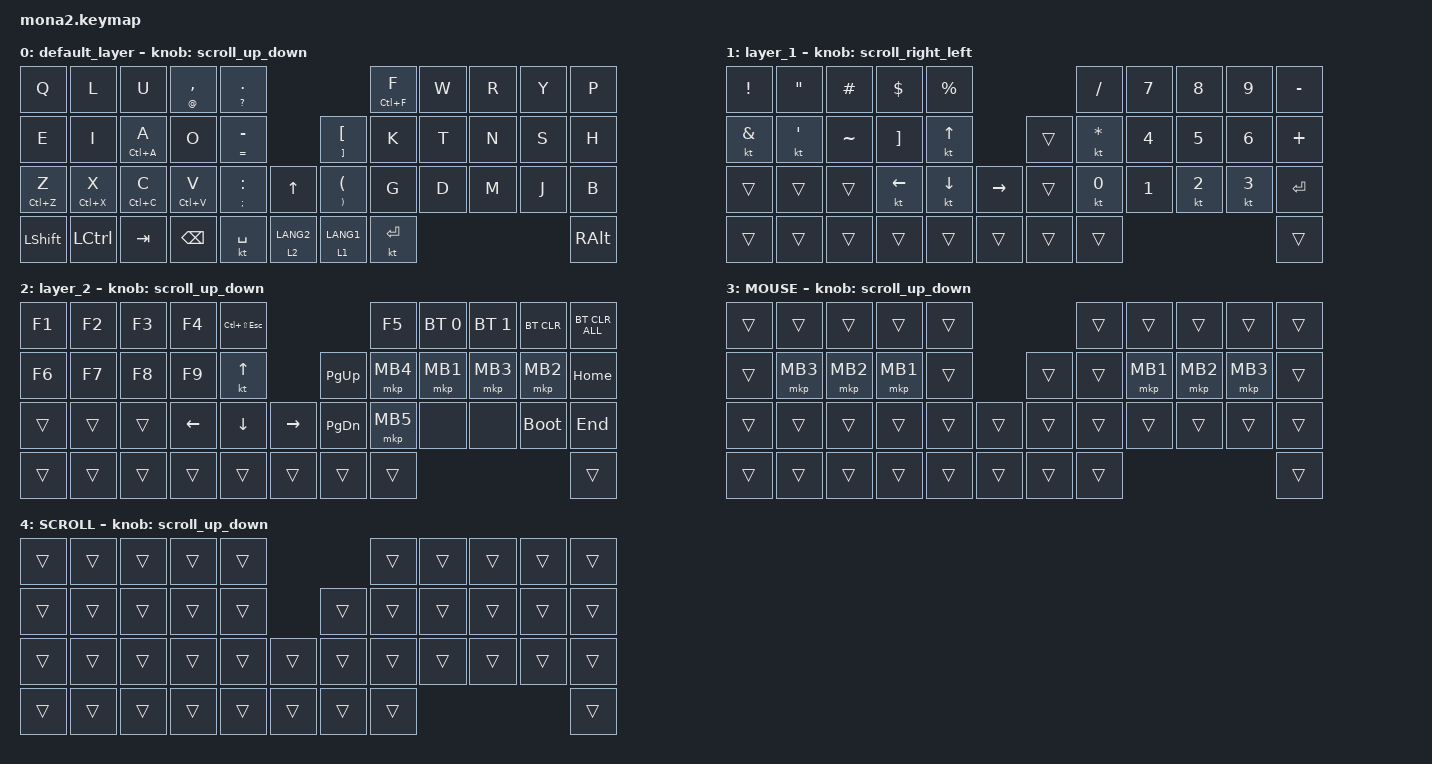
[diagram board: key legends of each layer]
#include <input/processors.dtsi>
#include <dt-bindings/zmk/input_transform.h>
#include <zephyr/dt-bindings/input/input-event-codes.h>
#include <behaviors.dtsi>
#include <dt-bindings/zmk/bt.h>
#include <dt-bindings/zmk/keys.h>
#include <dt-bindings/zmk/pointing.h>

#define ZMK_POINTING_DEFAULT_SCRL_VAL 100
#define MOUSE 5
#define SCROLL 6

&mt {
    flavor = "balanced";
    quick-tap-ms = <0>;
};

&lt {
    quick-tap-ms = <300>;
    flavor = "balanced";
};

/ {
    combos { compatible = "zmk,combos"; };

    macros {
        to_layer_0: to_layer_0 {
            compatible = "zmk,behavior-macro-one-param";
            #binding-cells = <1>;
            bindings = <&to 0 &macro_param_1to1 &kp MACRO_PLACEHOLDER>;
            label = "TO_LAYER_0";
        };
    };

    behaviors {
        lt_to_layer_0: lt_to_layer_0 {
            compatible = "zmk,behavior-hold-tap";
            label = "LAYER_TAP_TO_0";
            bindings = <&mo>, <&to_layer_0>;

            #binding-cells = <2>;
            tapping-term-ms = <200>;
        };

        scroll_up_down: mouse_wheel_up_down {
            compatible = "zmk,behavior-sensor-rotate";
            #sensor-binding-cells = <0>;
            bindings = <&msc SCRL_DOWN>, <&msc SCRL_UP>;

            tap-ms = <20>;
        };

        scroll_right_left: mouse_wheel_right_left {
            compatible = "zmk,behavior-sensor-rotate";
            #sensor-binding-cells = <0>;
            bindings = <&msc SCRL_LEFT>, <&msc SCRL_RIGHT>;

            tap-ms = <20>;
        };
    };

    keymap {
        compatible = "zmk,keymap";

        default_layer {
            bindings = <
&kp Q           &kp L             &kp U        &mt AT COMMA   &mt QUESTION PERIOD                                                                    &mt LC(F) F  &kp W  &kp R  &kp Y  &kp P
&kp E           &kp I             &mt LC(A) A  &kp O          &mt EQUAL MINUS                                &mt RIGHT_BRACKET LEFT_BRACKET          &kp K        &kp T  &kp N  &kp S  &kp H
&mt LC(Z) Z     &mt LC(X) X       &mt LC(C) C  &mt LC(V) V    &mt SEMICOLON COLON  &kp UP_ARROW              &mt RIGHT_PARENTHESIS LEFT_PARENTHESIS  &kp G        &kp D  &kp M  &kp J  &kp B
&kp LEFT_SHIFT  &kp LEFT_CONTROL  &kp TAB      &kp BACKSPACE  &kt SPACE            &lt_to_layer_0 2 LANG2    &lt_to_layer_0 1 LANG1                  &kt ENTER                         &kp RIGHT_ALT
            >;

            sensor-bindings = <&scroll_up_down>;
        };

        layer_1 {
            bindings = <
&kp EXCLAMATION  &kp DOUBLE_QUOTES  &kp HASH   &kp DOLLAR         &kp PERCENT                                &kp SLASH     &kp NUMBER_7  &kp NUMBER_8  &kp NUMBER_9  &kp MINUS
&kt AMPERSAND    &kt SINGLE_QUOTE   &kp TILDE  &kp RIGHT_BRACKET  &kt UP_ARROW                       &trans  &kt ASTERISK  &kp NUMBER_4  &kp NUMBER_5  &kp NUMBER_6  &kp PLUS
&trans           &trans             &trans     &kt LEFT_ARROW     &kt DOWN_ARROW  &kp RIGHT_ARROW    &trans  &kt NUMBER_0  &kp NUMBER_1  &kt NUMBER_2  &kt NUMBER_3  &kp ENTER
&trans           &trans             &trans     &trans             &trans          &trans             &trans  &trans                                                  &trans
            >;

            sensor-bindings = <&scroll_right_left>;
        };

        layer_2 {
            bindings = <
&kp F1  &kp F2  &kp F3  &kp F4          &kp LC(LS(ESCAPE))                                    &kp F5    &bt BT_SEL 0  &bt BT_SEL 1  &bt BT_CLR   &bt BT_CLR_ALL
&kp F6  &kp F7  &kp F8  &kp F9          &kt UP_ARROW                           &kp PAGE_UP    &mkp MB4  &mkp MB1      &mkp MB3      &mkp MB2     &kp HOME
&trans  &trans  &trans  &kp LEFT_ARROW  &kp DOWN_ARROW      &kp RIGHT_ARROW    &kp PAGE_DOWN  &mkp MB5  &none         &none         &bootloader  &kp END
&trans  &trans  &trans  &trans          &trans              &trans             &trans         &trans                                             &trans
            >;

            sensor-bindings = <&scroll_up_down>;
        };

        MOUSE {
            bindings = <
&trans  &trans    &trans    &trans    &trans                    &trans  &trans    &trans    &trans    &trans
&trans  &mkp MB3  &mkp MB2  &mkp MB1  &trans            &trans  &trans  &mkp MB1  &mkp MB2  &mkp MB3  &trans
&trans  &trans    &trans    &trans    &trans  &trans    &trans  &trans  &trans    &trans    &trans    &trans
&trans  &trans    &trans    &trans    &trans  &trans    &trans  &trans                                &trans
            >;

            sensor-bindings = <&scroll_up_down>;
        };

        SCROLL {
            bindings = <
&trans  &trans  &trans  &trans  &trans                    &trans  &trans  &trans  &trans  &trans
&trans  &trans  &trans  &trans  &trans            &trans  &trans  &trans  &trans  &trans  &trans
&trans  &trans  &trans  &trans  &trans  &trans    &trans  &trans  &trans  &trans  &trans  &trans
&trans  &trans  &trans  &trans  &trans  &trans    &trans  &trans                          &trans
            >;

            sensor-bindings = <&scroll_up_down>;
        };
    };
};
